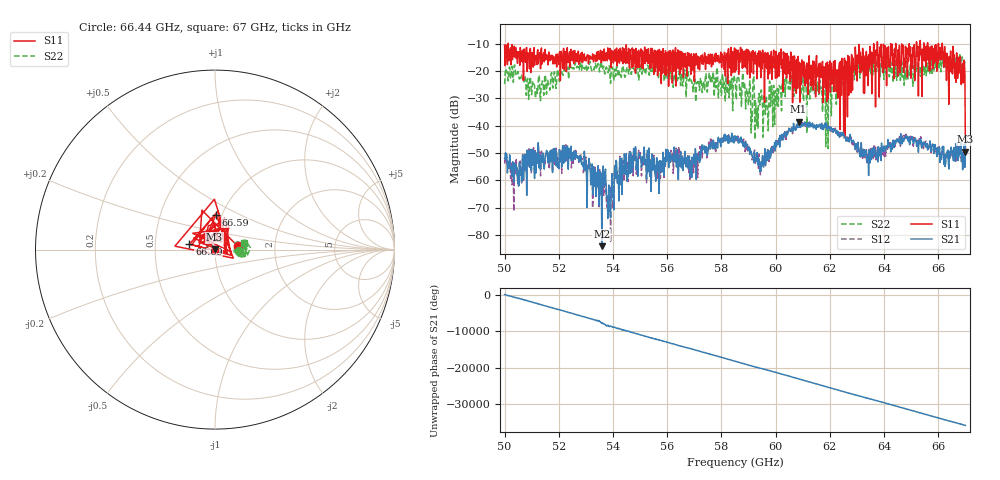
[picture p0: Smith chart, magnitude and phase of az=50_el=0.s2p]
!Created with skrf (http://scikit-rf.org).
# GHz S RI R 50.0
!freq ReS11 ImS11 ReS21 ImS21 ReS12 ImS12 ReS22 ImS22
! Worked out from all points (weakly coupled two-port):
!   1001 points, 50 GHz to 67 GHz, reference 50 ohm
!   highest |S21| = -38.61 dB at 60.85 GHz (marker M1); lowest = -84.1 dB at 53.59 GHz (marker M2)
!   lowest |S11| = -49.5 dB at 67 GHz (marker M3), VSWR 1.01, Z = 49.8 + j0.223 ohm
!   |S11| at or under -10 dB: 50.14 GHz to 63.62 GHz (13.48 GHz wide, 23.7 % of centre); 64.43 GHz to 65.2 GHz (762 MHz wide, 1.18 % of centre); 66.15 GHz to end of sweep (the widest 3 of 11)
!   |S22| runs from -48.4 to -14.1 dB; largest |S21 - S12| = 0.0021
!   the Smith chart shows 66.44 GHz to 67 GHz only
!   S11 on the Smith chart (normalised r, x): 66.44 GHz: 1.29, +0.05; 66.59 GHz: 0.94, +0.38; 66.69 GHz: 0.75, +0.05; 67 GHz: 1.00, +0.00
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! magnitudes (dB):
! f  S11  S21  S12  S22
! 50 GHz  -10.5  -52.0  -53.9  -24.8
! 50.54 GHz  -13.3  -53.7  -53.3  -22.9
! 51.14 GHz  -14.4  -51.4  -50.2  -30.0
! 52.84 GHz  -14.7  -54.2  -52.7  -19.7
! 53.59 GHz  -12.8  -84.1  -71.2  -18.4
! 53.83 GHz  -13.7  -67.6  -72.3  -20.6
! 54.74 GHz  -18.3  -54.6  -58.4  -18.8
! 55.68 GHz  -14.2  -53.2  -54.3  -22.5
! 58.5 GHz  -20.5  -43.7  -45.0  -24.1
! 59.49 GHz  -15.4  -54.4  -52.9  -28.3
! 60.85 GHz  -19.0  -38.6  -39.5  -22.0
! 61.34 GHz  -24.9  -40.0  -40.3  -24.7
! 61.88 GHz  -31.3  -40.9  -41.3  -22.6
! 62.56 GHz  -44.4  -44.2  -44.5  -19.4
! 63.4 GHz  -14.9  -51.3  -51.0  -17.5
! 64.18 GHz  -18.3  -47.3  -48.4  -18.5
! 66.08 GHz  -15.9  -51.6  -52.0  -15.7
! 66.44 GHz  -17.9  -49.5  -51.0  -17.6
! 66.59 GHz  -14.2  -50.3  -52.9  -15.9
! 66.69 GHz  -16.7  -48.0  -46.3  -15.7
! 66.9 GHz  -17.2  -56.2  -50.5  -15.1
! 67 GHz  -49.5  -46.4  -47.2  -15.7
